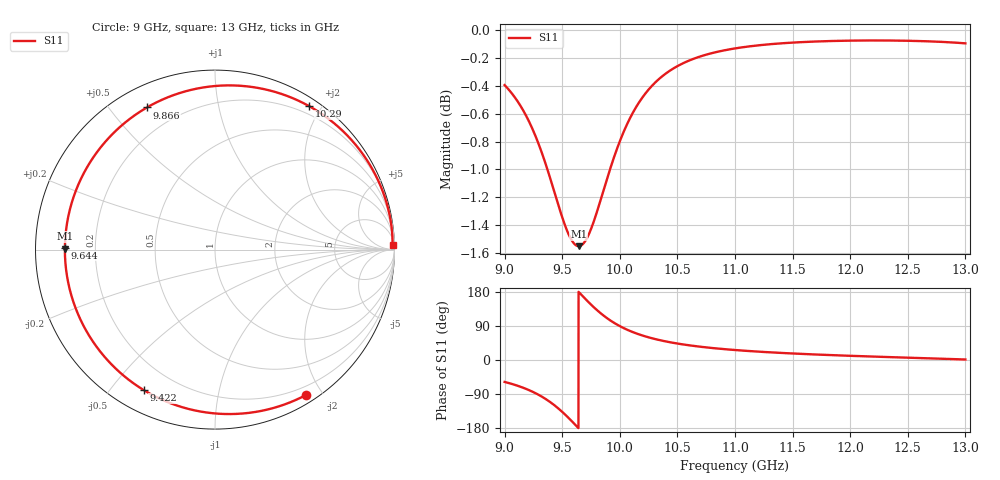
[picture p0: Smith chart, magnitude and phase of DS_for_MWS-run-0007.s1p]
! TOUCHSTONE file generated by CST DESIGN STUDIO
! Date and time: Wed Feb  5 13:34:27 2025
! Project name: C:\Work\MatlabApps\UnitCellOptimizationMatlab\CST\unitcell.cst
! Tree item: Tasks\Sweep1\SPara1\S-Parameters
! Header version: 2024
! Port assignment regex: !\s*Touchstone port\s*([0-9]+)\s*=\s*(CST MWS port|CST DES external port|CST DES block port)\s*(.+)\s* \(\"(.*)\"\)(\s*mode\s*([0-9]+))?.*
! Touchstone port assignment:
! Touchstone port 1 = CST DES external port 1 ("")
# GHz S MA R 50
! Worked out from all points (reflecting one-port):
!   4001 points, 9 GHz to 13 GHz, reference 50 ohm
!   lowest |S11| = -1.6 dB at 9.643 GHz (marker M1), VSWR 11.23, Z = 4.45 + j0.181 ohm
!   phase of S11 starts at -58 deg and turns -301 deg over the sweep
!   S11 on the Smith chart (normalised r, x): 9 GHz: 0.10, -1.81; 9.422 GHz: 0.09, -0.61; 9.644 GHz: 0.09, +0.01; 9.866 GHz: 0.09, +0.63; 10.29 GHz: 0.10, +1.85; 13 GHz: 31, +70
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9  0.9557 -57.8
9.134  0.94 -70.2
9.263  0.9173 -86.8
9.348  0.8975 -101.3
9.422  0.8776 -117.0
9.461  0.8669 -126.5
9.5  0.8567 -136.8
9.576  0.8414 -159.2
9.61  0.8376 -169.9
9.643  0.8364 179.6
9.644  0.8364 179.3
9.701  0.8401 161.1
9.764  0.8514 142.2
9.815  0.864 128.1
9.866  0.878 115.6
9.929  0.895 102.1
10  0.9123 89.4
10.068  0.9262 79.3
10.137  0.9378 70.8
10.288  0.956 56.7
10.388  0.9642 49.7
10.5  0.9709 43.4
10.72  0.9793 34.3
11  0.9852 26.3
11.5  0.99 17.2
12  0.9916 11.1
12.5  0.9915 6.1
13  0.9894 1.4
